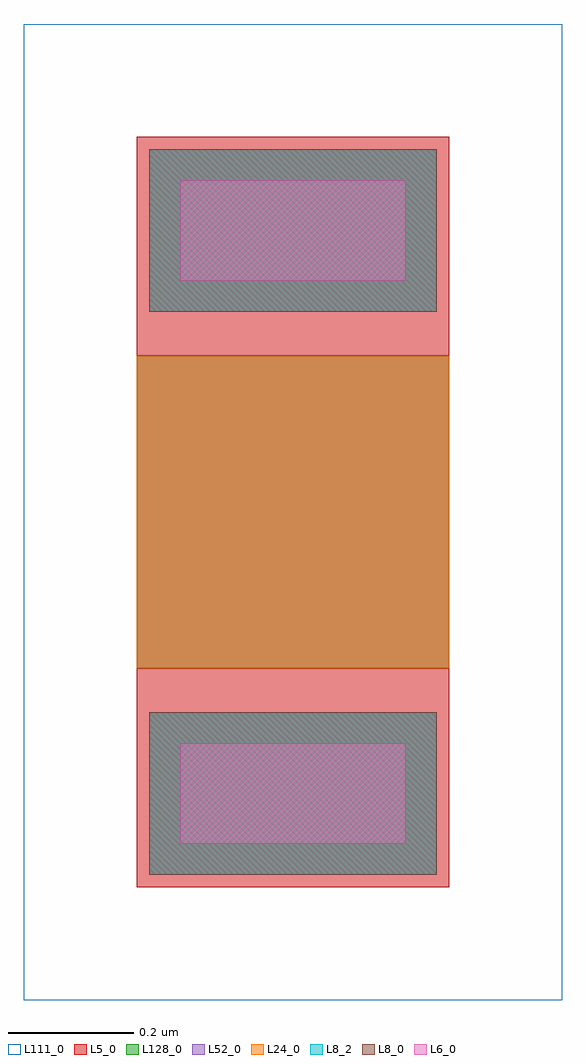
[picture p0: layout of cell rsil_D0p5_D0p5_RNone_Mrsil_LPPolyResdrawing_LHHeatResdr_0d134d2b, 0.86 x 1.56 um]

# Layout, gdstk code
import gdstk
lib = gdstk.Library(unit=1e-6, precision=1e-09)
def R(c, l, rs):  # rectangles x0, y0, x1, y1
    for r in rs: c.add(gdstk.rectangle(r[:2], r[2:], *l))
L5_0 = (5, 0)
L6_0 = (6, 0)
L8_0 = (8, 0)
L8_2 = (8, 2)
L24_0 = (24, 0)
L52_0 = (52, 0)
L111_0 = (111, 0)
L128_0 = (128, 0)

rectangle_gdsfactorypcom = lib.new_cell('rectangle_gdsfactorypcomponentspshapesprectangle_S0p5_0_ce1d4e87')
R(rectangle_gdsfactorypcom, L128_0, [(0,0,0.5,0.5)])

c_rectangle_gdsfactorypcom = lib.new_cell('rectangle_gdsfactorypcomponentspshapesprectangle_S0p5_0_955d4748')
R(c_rectangle_gdsfactorypcom, L52_0, [(0,0,0.5,0.5)])

c_rectangle_gdsfactorypcom_ = lib.new_cell('rectangle_gdsfactorypcomponentspshapesprectangle_S0p5_0_28ac2caa')
R(c_rectangle_gdsfactorypcom_, L24_0, [(0,0,0.5,0.5)])

c_rectangle_gdsfactorypcom__ = lib.new_cell('rectangle_gdsfactorypcomponentspshapesprectangle_S0p5_0_365be98d')
R(c_rectangle_gdsfactorypcom__, L5_0, [(0,0,0.5,0.35)])

c_rectangle_gdsfactorypcom___ = lib.new_cell('rectangle_gdsfactorypcomponentspshapesprectangle_S0p46__0c3aa280')
R(c_rectangle_gdsfactorypcom___, L8_2, [(0,0,0.46,0.26)])

c_rectangle_gdsfactorypcom____ = lib.new_cell('rectangle_gdsfactorypcomponentspshapesprectangle_S0p46__c5e398a1')
R(c_rectangle_gdsfactorypcom____, L8_0, [(0,0,0.46,0.26)])

c_rectangle_gdsfactorypcom_____ = lib.new_cell('rectangle_gdsfactorypcomponentspshapesprectangle_S0p36__cc771b56')
R(c_rectangle_gdsfactorypcom_____, L6_0, [(0,0,0.36,0.16)])

c_rectangle_gdsfactorypcom______ = lib.new_cell('rectangle_gdsfactorypcomponentspshapesprectangle_S0p86__22b38a77')
R(c_rectangle_gdsfactorypcom______, L111_0, [(0,0,0.86,1.56)])

rsil_d0p5_d0p5_rnone_mrs = lib.new_cell('rsil_D0p5_D0p5_RNone_Mrsil_LPPolyResdrawing_LHHeatResdr_0d134d2b')
rsil_d0p5_d0p5_rnone_mrs.add(gdstk.Reference(rectangle_gdsfactorypcom, (0,0)))
rsil_d0p5_d0p5_rnone_mrs.add(gdstk.Reference(c_rectangle_gdsfactorypcom, (0,0)))
rsil_d0p5_d0p5_rnone_mrs.add(gdstk.Reference(c_rectangle_gdsfactorypcom_, (0,0)))
rsil_d0p5_d0p5_rnone_mrs.add(gdstk.Reference(c_rectangle_gdsfactorypcom__, (0,0.5)))
rsil_d0p5_d0p5_rnone_mrs.add(gdstk.Reference(c_rectangle_gdsfactorypcom__, (0,-0.35)))
rsil_d0p5_d0p5_rnone_mrs.add(gdstk.Reference(c_rectangle_gdsfactorypcom___, (0.02,0.57)))
rsil_d0p5_d0p5_rnone_mrs.add(gdstk.Reference(c_rectangle_gdsfactorypcom___, (0.02,-0.33)))
rsil_d0p5_d0p5_rnone_mrs.add(gdstk.Reference(c_rectangle_gdsfactorypcom____, (0.02,0.57)))
rsil_d0p5_d0p5_rnone_mrs.add(gdstk.Reference(c_rectangle_gdsfactorypcom____, (0.02,-0.33)))
rsil_d0p5_d0p5_rnone_mrs.add(gdstk.Reference(c_rectangle_gdsfactorypcom_____, (0.07,0.62)))
rsil_d0p5_d0p5_rnone_mrs.add(gdstk.Reference(c_rectangle_gdsfactorypcom_____, (0.07,-0.28)))
rsil_d0p5_d0p5_rnone_mrs.add(gdstk.Reference(c_rectangle_gdsfactorypcom______, (-0.18,-0.53)))

lib.write_gds('rsil_D0p5_D0p5_RNone_Mrsil_LPPolyResdrawing_LHHeatResdr_0d134d2b.gds')
